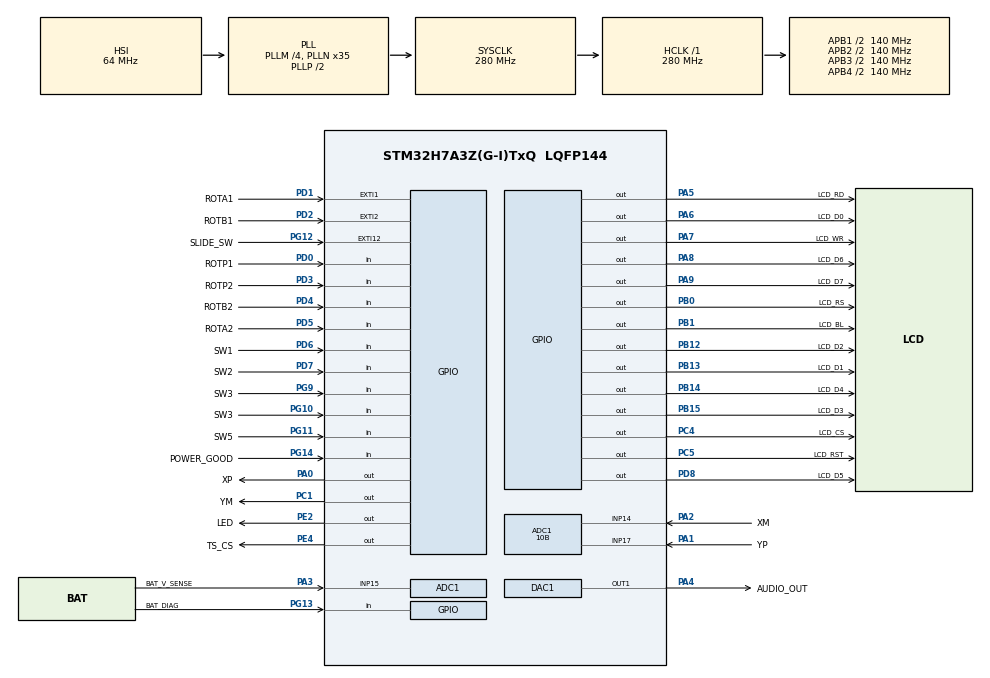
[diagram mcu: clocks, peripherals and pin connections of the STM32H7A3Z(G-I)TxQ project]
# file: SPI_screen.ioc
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ADC1.Channel-1\#ChannelRegularConversion=ADC_CHANNEL_14
ADC1.ContinuousConvMode=DISABLE
ADC1.ConversionDataManagement=ADC_CONVERSIONDATA_DR
ADC1.NbrOfConversion=1
ADC1.NbrOfConversionFlag=1
ADC1.OffsetNumber-1\#ChannelRegularConversion=ADC_OFFSET_NONE
ADC1.OffsetSignedSaturation-1\#ChannelRegularConversion=DISABLE
ADC1.Rank-1\#ChannelRegularConversion=1
ADC1.Resolution=ADC_RESOLUTION_10B
ADC1.SamplingTime-1\#ChannelRegularConversion=ADC_SAMPLETIME_1CYCLE_5
ADC1.master=1
ARM.CMSIS.5.9.0.CMSISJjCORE=true
CORTEX_M7.default_mode_Activation=1
DAC1.DAC_Channel-DAC_OUT1=DAC_CHANNEL_1
FREERTOS.Tasks01=touch_io,24,128,start_touch_io,Default,NULL,Static,touch_ioBuffer,touch_ioControlBlock;lcd_display,23,128,start_lcd_display,Default,NULL,Static,lcd_displayBuffer,lcd_displayControlBlock
FREERTOS.configCHECK_FOR_STACK_OVERFLOW=1
FREERTOS.configENABLE_FPU=1
FREERTOS.configGENERATE_RUN_TIME_STATS=1
FREERTOS.configUSE_STATS_FORMATTING_FUNCTIONS=1
Mcu.Family=STM32H7
Mcu.Name=STM32H7A3Z(G-I)TxQ
Mcu.Package=LQFP144
Mcu.UserConstants=TOUCH_IO_REFRESH_RATE,10
NVIC.EXTI15_10_IRQn=true\:5\:0\:false\:false\:true\:true\:true\:true\:true
NVIC.EXTI1_IRQn=true\:5\:0\:false\:false\:true\:true\:true\:true\:true
NVIC.EXTI2_IRQn=true\:5\:0\:false\:false\:true\:true\:true\:true\:true
NVIC.PriorityGroup=NVIC_PRIORITYGROUP_4
NVIC.TIM8_BRK_TIM12_IRQn=true\:15\:0\:false\:false\:true\:false\:false\:true\:true
NVIC.TIM8_UP_TIM13_IRQn=true\:5\:0\:false\:false\:true\:true\:true\:true\:true
NVIC.TimeBase=TIM8_BRK_TIM12_IRQn
NVIC.TimeBaseIP=TIM12
PA0.GPIO_Label=XP
PA0.GPIO_Speed=GPIO_SPEED_FREQ_VERY_HIGH
PA0.Signal=GPIO_Output
PA1.GPIO_Label=YP
PA1.GPIO_Pd=GPIO_PULLDOWN
PA1.Signal=SharedAnalog_PA1
PA13.Mode=Serial_Wire
PA13.Signal=DEBUG_JTMS-SWDIO
PA14.Mode=Serial_Wire
PA14.Signal=DEBUG_JTCK-SWCLK
PA2.GPIO_Label=XM
PA2.GPIO_Pd=GPIO_PULLDOWN
PA2.Signal=ADCx_INP14
PA3.GPIO_Label=BAT_V_SENSE
PA3.Mode=IN15-Single-Ended
PA3.Signal=ADC1_INP15
PA4.GPIO_Label=AUDIO_OUT
PA4.Signal=COMP_DAC11_group
PA5.GPIO_Label=LCD_RD
PA5.GPIO_Speed=GPIO_SPEED_FREQ_VERY_HIGH
PA5.PinState=GPIO_PIN_SET
PA5.Signal=GPIO_Output
PA6.GPIO_Label=LCD_D0
PA6.GPIO_Speed=GPIO_SPEED_FREQ_VERY_HIGH
PA6.Signal=GPIO_Output
PA7.GPIO_Label=LCD_WR
PA7.GPIO_Speed=GPIO_SPEED_FREQ_VERY_HIGH
PA7.PinState=GPIO_PIN_SET
PA7.Signal=GPIO_Output
PA8.GPIO_Label=LCD_D6
PA8.GPIO_Speed=GPIO_SPEED_FREQ_VERY_HIGH
PA8.Signal=GPIO_Output
PA9.GPIO_Label=LCD_D7
PA9.GPIO_Speed=GPIO_SPEED_FREQ_VERY_HIGH
PA9.Signal=GPIO_Output
PB0.GPIO_Label=LCD_RS
PB0.GPIO_Speed=GPIO_SPEED_FREQ_VERY_HIGH
PB0.Signal=GPIO_Output
PB1.GPIO_Label=LCD_BL
PB1.PinState=GPIO_PIN_SET
PB1.Signal=GPIO_Output
PB12.GPIO_Label=LCD_D2
PB12.GPIO_Speed=GPIO_SPEED_FREQ_VERY_HIGH
PB12.Signal=GPIO_Output
PB13.GPIO_Label=LCD_D1
PB13.GPIO_Speed=GPIO_SPEED_FREQ_VERY_HIGH
PB13.Signal=GPIO_Output
PB14.GPIO_Label=LCD_D4
PB14.GPIO_Speed=GPIO_SPEED_FREQ_VERY_HIGH
PB14.Signal=GPIO_Output
PB15.GPIO_Label=LCD_D3
PB15.GPIO_Speed=GPIO_SPEED_FREQ_VERY_HIGH
PB15.Signal=GPIO_Output
PC1.GPIO_Label=YM
PC1.GPIO_Speed=GPIO_SPEED_FREQ_VERY_HIGH
PC1.PinState=GPIO_PIN_RESET
PC1.Signal=GPIO_Output
PC14-OSC32_IN.GPIO_Label=OSC32_IN
PC14-OSC32_IN.Signal=RCC_OSC32_IN
PC15-OSC32_OUT.GPIO_Label=OSC32_OUT
PC15-OSC32_OUT.Signal=RCC_OSC32_OUT
PC4.GPIO_Label=LCD_CS
PC4.GPIO_ModeDefaultOutputPP=GPIO_MODE_OUTPUT_PP
PC4.GPIO_Speed=GPIO_SPEED_FREQ_VERY_HIGH
PC4.PinState=GPIO_PIN_SET
PC4.Signal=GPIO_Output
PC5.GPIO_Label=LCD_RST
PC5.PinState=GPIO_PIN_SET
PC5.Signal=GPIO_Output
PD0.GPIO_Label=ROTP1
PD0.Signal=GPIO_Input
PD1.GPIO_Label=ROTA1
PD1.GPIO_ModeDefaultEXTI=GPIO_MODE_IT_RISING_FALLING
PD1.GPIO_PuPd=GPIO_NOPULL
PD1.Signal=GPXTI1
PD2.GPIO_Label=ROTB1
PD2.GPIO_ModeDefaultEXTI=GPIO_MODE_IT_RISING_FALLING
PD2.GPIO_PuPd=GPIO_NOPULL
PD2.Signal=GPXTI2
PD3.GPIO_Label=ROTP2
PD3.Signal=GPIO_Input
PD4.GPIO_Label=ROTB2
PD4.Signal=GPIO_Input
PD5.GPIO_Label=ROTA2
PD5.Signal=GPIO_Input
PD6.GPIO_Label=SW1
PD6.Signal=GPIO_Input
PD7.GPIO_Label=SW2
PD7.Signal=GPIO_Input
PD8.GPIO_Label=LCD_D5
PD8.GPIO_Speed=GPIO_SPEED_FREQ_VERY_HIGH
PD8.Signal=GPIO_Output
PD9.Signal=USART3_RX
PE2.GPIO_Label=LED
PE2.Signal=GPIO_Output
PE4.GPIO_Label=TS_CS
PE4.GPIO_Speed=GPIO_SPEED_FREQ_VERY_HIGH
PE4.PinState=GPIO_PIN_SET
PE4.Signal=GPIO_Output
PG10.GPIO_Label=SW3
PG10.Signal=GPIO_Input
PG11.GPIO_Label=SW5
PG11.Signal=GPIO_Input
PG12.GPIO_Label=SLIDE_SW
PG12.GPIO_ModeDefaultEXTI=GPIO_MODE_IT_RISING
PG12.Signal=GPXTI12
PG13.GPIO_Label=BAT_DIAG
PG13.Signal=GPIO_Input
PG14.GPIO_Label=POWER_GOOD
PG14.Signal=GPIO_Input
PG9.GPIO_Label=SW3
PG9.Signal=GPIO_Input
PH0-OSC_IN.GPIO_Label=PH0-MCU
PH0-OSC_IN.Signal=RCC_OSC_IN
PH1-OSC_OUT.GPIO_Label=PH1-MCU
PH1-OSC_OUT.Signal=RCC_OSC_OUT
ProjectManager.HeapSize=0x200
ProjectManager.StackSize=0x400
ProjectManager.TargetToolchain=STM32CubeIDE
RCC.ADCFreq_Value=42666666.666666664
RCC.APB1Freq_Value=140000000
RCC.APB2Freq_Value=140000000
RCC.APB3Freq_Value=140000000
RCC.APB4Freq_Value=140000000
RCC.CDPPRE=RCC_APB3_DIV2
RCC.CDPPRE1=RCC_APB1_DIV2
RCC.CDPPRE2=RCC_APB2_DIV2
RCC.CortexFreq_Value=280000000
RCC.DIVM1=4
RCC.DIVM2=4
RCC.DIVM3=1
RCC.DIVN1=35
RCC.DIVN2=8
RCC.DIVN3=24
RCC.DIVP2=3
RCC.DIVQ1=4
RCC.HCLKFreq_Value=280000000
RCC.HSE_VALUE=8000000
RCC.PLL2FRACN=0
RCC.PLLFRACN=0
RCC.PWR_Regulator_Voltage_Scale=PWR_REGULATOR_VOLTAGE_SCALE0
RCC.SRDPPRE=RCC_APB4_DIV2
RCC.SYSCLKFreq_VALUE=280000000
RCC.SYSCLKSource=RCC_SYSCLKSOURCE_PLLCLK
RCC.SupplySource=PWR_DIRECT_SMPS_SUPPLY
RCC.USBCLockSelection=RCC_USBCLKSOURCE_HSI48
RCC.USBFreq_Value=48000000
SH.ADCx_INP14.0=ADC1_INP14,IN14-Single-Ended
SH.COMP_DAC11_group.0=DAC1_OUT1,DAC_OUT1
SH.SharedAnalog_PA1.0=ADC1_INN16
SH.SharedAnalog_PA1.1=ADC1_INP17,IN17-Single-Ended
TIM13.AutoReloadPreload=TIM_AUTORELOAD_PRELOAD_ENABLE
TIM13.Period=333 - 1
TIM13.Prescaler=28000 - 1
TIM6.AutoReloadPreload=TIM_AUTORELOAD_PRELOAD_ENABLE
TIM6.Period=725
TIM6.Prescaler=0
TIM6.TIM_MasterOutputTrigger=TIM_TRGO_UPDATE
VP_ARM.CMSIS_VS_CMSISJjCORE_5.6.0_5.9.0.Mode=CMSISJjCORE
VP_FREERTOS_VS_CMSIS_V2.Mode=CMSIS_V2
VP_MEMORYMAP_VS_MEMORYMAP.Mode=CurAppReg
VP_SYS_VS_tim12.Mode=TIM12
VP_TIM13_VS_ClockSourceINT.Mode=Enable_Timer
VP_TIM6_VS_ClockSourceINT.Mode=Enable_Timer
board=NUCLEO-H7A3ZI-Q

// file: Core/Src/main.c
/* USER CODE BEGIN Header */
/**
 ******************************************************************************
 * @file           : main.c
 * @brief          : Main program body
 ******************************************************************************
 * @attention
 *
 * Copyright (c) 2025 STMicroelectronics.
 * All rights reserved.
 *
 * This software is licensed under terms that can be found in the LICENSE file
 * in the root directory of this software component.
 * If no LICENSE file comes with this software, it is provided AS-IS.
 *
 ******************************************************************************
 */
/* USER CODE END Header */
#include "main.h"
#include "cmsis_os.h"

/* USER CODE BEGIN Includes */
#include <string.h>
#include "Lcd/ts.h"
#include "Lcd/ili9341.h"
#include "Lcd/stm32_adafruit_lcd.h"
#include "Encoder/encoder.h"

/* USER CODE END Includes */

typedef StaticTask_t osStaticThreadDef_t;

ADC_HandleTypeDef hadc1;

DAC_HandleTypeDef hdac1;

TIM_HandleTypeDef htim6;
TIM_HandleTypeDef htim13;

/* Definitions for touch_io */
osThreadId_t touch_ioHandle;
uint32_t touch_ioBuffer[ 128 ];
osStaticThreadDef_t touch_ioControlBlock;
const osThreadAttr_t touch_io_attributes = {
  .name = "touch_io",
  .cb_mem = &touch_ioControlBlock,
  .cb_size = sizeof(touch_ioControlBlock),
  .stack_mem = &touch_ioBuffer[0],
  .stack_size = sizeof(touch_ioBuffer),
  .priority = (osPriority_t) osPriorityNormal,
};
/* Definitions for lcd_display */
osThreadId_t lcd_displayHandle;
uint32_t lcd_displayBuffer[ 128 ];
osStaticThreadDef_t lcd_displayControlBlock;
const osThreadAttr_t lcd_display_attributes = {
  .name = "lcd_display",
  .cb_mem = &lcd_displayControlBlock,
  .cb_size = sizeof(lcd_displayControlBlock),
  .stack_mem = &lcd_displayBuffer[0],
  .stack_size = sizeof(lcd_displayBuffer),
  .priority = (osPriority_t) osPriorityBelowNormal7,
};
/* USER CODE BEGIN PV */
extern GRTS_Drv *ts_drv;
TS_Point p;
uint32_t x, y;

uint16_t write_buffer[ILI9341_LCD_PIXEL_WIDTH * ILI9341_LCD_PIXEL_HEIGHT];
uint16_t draw_buffer[ILI9341_LCD_PIXEL_WIDTH * ILI9341_LCD_PIXEL_HEIGHT];

uint16_t *write_to = write_buffer;
uint16_t *draw_from = draw_buffer;

extern Rotary_Encoder encoders[2];
/* USER CODE END PV */

void SystemClock_Config(void);
static void MPU_Config(void);
static void MX_GPIO_Init(void);
static void MX_TIM6_Init(void);
static void MX_DAC1_Init(void);
static void MX_ADC1_Init(void);
static void MX_TIM13_Init(void);
void start_touch_io(void *argument);
void start_lcd_display(void *argument);

/* USER CODE BEGIN 0 */
static inline uint32_t map(uint32_t x, uint32_t in_min, uint32_t in_max,
		uint32_t out_min, uint32_t out_max) {
	return (x - in_min) * (out_max - out_min) / (in_max - in_min) + out_min;
}
/* USER CODE END 0 */

int main(void)
{

  /* MPU Configuration--------------------------------------------------------*/
  MPU_Config();

  /* MCU Configuration--------------------------------------------------------*/

  /* Reset of all peripherals, Initializes the Flash interface and the Systick. */
  HAL_Init();

  /* Configure the system clock */
  SystemClock_Config();

  /* Initialize all configured peripherals */
  MX_GPIO_Init();
  MX_TIM6_Init();
  MX_DAC1_Init();
  MX_ADC1_Init();
  MX_TIM13_Init();
  /* USER CODE BEGIN 2 */
	HAL_Delay(300);
	BSP_LCD_Init();
	BSP_LCD_Clear(LCD_COLOR_BLACK);
  /* USER CODE END 2 */

  /* Init scheduler */
  osKernelInitialize();

  /* Create the thread(s) */
  /* creation of touch_io */
  touch_ioHandle = osThreadNew(start_touch_io, NULL, &touch_io_attributes);

  /* creation of lcd_display */
  lcd_displayHandle = osThreadNew(start_lcd_display, NULL, &lcd_display_attributes);

  /* USER CODE BEGIN RTOS_THREADS */
	/* add threads, ... */
//  osThreadSuspend(touch_ioHandle);
//  osThreadSuspend(lcd_displayHandle);
  /* USER CODE END RTOS_THREADS */

  /* Start scheduler */
  osKernelStart();

  /* We should never get here as control is now taken by the scheduler */

  /* Infinite loop */
	while (1) {

	}
}

void SystemClock_Config(void)
{
  RCC_OscInitTypeDef RCC_OscInitStruct = {0};
  RCC_ClkInitTypeDef RCC_ClkInitStruct = {0};

  /*AXI clock gating */
  RCC->CKGAENR = 0xE003FFFF;

  /** Supply configuration update enable
  */
  HAL_PWREx_ConfigSupply(PWR_DIRECT_SMPS_SUPPLY);

  /** Configure the main internal regulator output voltage
  */
  __HAL_PWR_VOLTAGESCALING_CONFIG(PWR_REGULATOR_VOLTAGE_SCALE0);

  while(!__HAL_PWR_GET_FLAG(PWR_FLAG_VOSRDY)) {}

  /** Initializes the RCC Oscillators according to the specified parameters
  * in the RCC_OscInitTypeDef structure.
  */
  RCC_OscInitStruct.OscillatorType = RCC_OSCILLATORTYPE_HSI|RCC_OSCILLATORTYPE_LSI;
  RCC_OscInitStruct.HSIState = RCC_HSI_DIV1;
  RCC_OscInitStruct.HSICalibrationValue = 64;
  RCC_OscInitStruct.LSIState = RCC_LSI_ON;
  RCC_OscInitStruct.PLL.PLLState = RCC_PLL_ON;
  RCC_OscInitStruct.PLL.PLLSource = RCC_PLLSOURCE_HSI;
  RCC_OscInitStruct.PLL.PLLM = 4;
  RCC_OscInitStruct.PLL.PLLN = 35;
  RCC_OscInitStruct.PLL.PLLP = 2;
  RCC_OscInitStruct.PLL.PLLQ = 4;
  RCC_OscInitStruct.PLL.PLLR = 2;
  RCC_OscInitStruct.PLL.PLLRGE = RCC_PLL1VCIRANGE_3;
  RCC_OscInitStruct.PLL.PLLVCOSEL = RCC_PLL1VCOWIDE;
  RCC_OscInitStruct.PLL.PLLFRACN = 0;
  if (HAL_RCC_OscConfig(&RCC_OscInitStruct) != HAL_OK)
  {
    Error_Handler();
  }

  /** Initializes the CPU, AHB and APB buses clocks
  */
  RCC_ClkInitStruct.ClockType = RCC_CLOCKTYPE_HCLK|RCC_CLOCKTYPE_SYSCLK
                              |RCC_CLOCKTYPE_PCLK1|RCC_CLOCKTYPE_PCLK2
                              |RCC_CLOCKTYPE_D3PCLK1|RCC_CLOCKTYPE_D1PCLK1;
  RCC_ClkInitStruct.SYSCLKSource = RCC_SYSCLKSOURCE_PLLCLK;
  RCC_ClkInitStruct.SYSCLKDivider = RCC_SYSCLK_DIV1;
  RCC_ClkInitStruct.AHBCLKDivider = RCC_HCLK_DIV1;
  RCC_ClkInitStruct.APB3CLKDivider = RCC_APB3_DIV2;
  RCC_ClkInitStruct.APB1CLKDivider = RCC_APB1_DIV2;
  RCC_ClkInitStruct.APB2CLKDivider = RCC_APB2_DIV2;
  RCC_ClkInitStruct.APB4CLKDivider = RCC_APB4_DIV2;

  if (HAL_RCC_ClockConfig(&RCC_ClkInitStruct, FLASH_LATENCY_6) != HAL_OK)
  {
    Error_Handler();
  }
}

static void MX_ADC1_Init(void)
{

  ADC_MultiModeTypeDef multimode = {0};
  ADC_ChannelConfTypeDef sConfig = {0};

  /** Common config
  */
  hadc1.Instance = ADC1;
  hadc1.Init.ClockPrescaler = ADC_CLOCK_ASYNC_DIV1;
  hadc1.Init.Resolution = ADC_RESOLUTION_10B;
  hadc1.Init.ScanConvMode = ADC_SCAN_DISABLE;
  hadc1.Init.EOCSelection = ADC_EOC_SINGLE_CONV;
  hadc1.Init.LowPowerAutoWait = DISABLE;
  hadc1.Init.ContinuousConvMode = DISABLE;
  hadc1.Init.NbrOfConversion = 1;
  hadc1.Init.DiscontinuousConvMode = DISABLE;
  hadc1.Init.ExternalTrigConv = ADC_SOFTWARE_START;
  hadc1.Init.ExternalTrigConvEdge = ADC_EXTERNALTRIGCONVEDGE_NONE;
  hadc1.Init.ConversionDataManagement = ADC_CONVERSIONDATA_DR;
  hadc1.Init.Overrun = ADC_OVR_DATA_PRESERVED;
  hadc1.Init.LeftBitShift = ADC_LEFTBITSHIFT_NONE;
  hadc1.Init.OversamplingMode = DISABLE;
  if (HAL_ADC_Init(&hadc1) != HAL_OK)
  {
    Error_Handler();
  }

  /** Configure the ADC multi-mode
  */
  multimode.Mode = ADC_MODE_INDEPENDENT;
  if (HAL_ADCEx_MultiModeConfigChannel(&hadc1, &multimode) != HAL_OK)
  {
    Error_Handler();
  }

  /** Configure Regular Channel
  */
  sConfig.Channel = ADC_CHANNEL_14;
  sConfig.Rank = ADC_REGULAR_RANK_1;
  sConfig.SamplingTime = ADC_SAMPLETIME_1CYCLE_5;
  sConfig.SingleDiff = ADC_SINGLE_ENDED;
  sConfig.OffsetNumber = ADC_OFFSET_NONE;
  sConfig.Offset = 0;
  sConfig.OffsetSignedSaturation = DISABLE;
  if (HAL_ADC_ConfigChannel(&hadc1, &sConfig) != HAL_OK)
  {
    Error_Handler();
  }
  /* USER CODE BEGIN ADC1_Init 2 */
	HAL_ADCEx_Calibration_Start(&hadc1, ADC_CALIB_OFFSET_LINEARITY,
	ADC_CALIB_OFFSET_LINEARITY);
  /* USER CODE END ADC1_Init 2 */

}

static void MX_DAC1_Init(void)
{

  DAC_ChannelConfTypeDef sConfig = {0};

  /** DAC Initialization
  */
  hdac1.Instance = DAC1;
  if (HAL_DAC_Init(&hdac1) != HAL_OK)
  {
    Error_Handler();
  }

  /** DAC channel OUT1 config
  */
  sConfig.DAC_SampleAndHold = DAC_SAMPLEANDHOLD_DISABLE;
  sConfig.DAC_Trigger = DAC_TRIGGER_NONE;
  sConfig.DAC_OutputBuffer = DAC_OUTPUTBUFFER_ENABLE;
  sConfig.DAC_ConnectOnChipPeripheral = DAC_CHIPCONNECT_DISABLE;
  sConfig.DAC_UserTrimming = DAC_TRIMMING_FACTORY;
  if (HAL_DAC_ConfigChannel(&hdac1, &sConfig, DAC_CHANNEL_1) != HAL_OK)
  {
    Error_Handler();
  }

}

static void MX_TIM6_Init(void)
{

  TIM_MasterConfigTypeDef sMasterConfig = {0};

  htim6.Instance = TIM6;
  htim6.Init.Prescaler = 0;
  htim6.Init.CounterMode = TIM_COUNTERMODE_UP;
  htim6.Init.Period = 725;
  htim6.Init.AutoReloadPreload = TIM_AUTORELOAD_PRELOAD_ENABLE;
  if (HAL_TIM_Base_Init(&htim6) != HAL_OK)
  {
    Error_Handler();
  }
  sMasterConfig.MasterOutputTrigger = TIM_TRGO_UPDATE;
  sMasterConfig.MasterSlaveMode = TIM_MASTERSLAVEMODE_DISABLE;
  if (HAL_TIMEx_MasterConfigSynchronization(&htim6, &sMasterConfig) != HAL_OK)
  {
    Error_Handler();
  }
  /* USER CODE BEGIN TIM6_Init 2 */
	HAL_TIM_Base_Start(&htim6);
  /* USER CODE END TIM6_Init 2 */

}

static void MX_TIM13_Init(void)
{

  htim13.Instance = TIM13;
  htim13.Init.Prescaler = 28000 - 1;
  htim13.Init.CounterMode = TIM_COUNTERMODE_UP;
  htim13.Init.Period = 333 - 1;
  htim13.Init.ClockDivision = TIM_CLOCKDIVISION_DIV1;
  htim13.Init.AutoReloadPreload = TIM_AUTORELOAD_PRELOAD_ENABLE;
  if (HAL_TIM_Base_Init(&htim13) != HAL_OK)
  {
    Error_Handler();
  }
  /* USER CODE BEGIN TIM13_Init 2 */
	HAL_TIM_Base_Start_IT(&htim13);
  /* USER CODE END TIM13_Init 2 */

}

static void MX_GPIO_Init(void)
{
  GPIO_InitTypeDef GPIO_InitStruct = {0};

  /* GPIO Ports Clock Enable */
  __HAL_RCC_GPIOE_CLK_ENABLE();
  __HAL_RCC_GPIOC_CLK_ENABLE();
  __HAL_RCC_GPIOH_CLK_ENABLE();
  __HAL_RCC_GPIOA_CLK_ENABLE();
  __HAL_RCC_GPIOB_CLK_ENABLE();
  __HAL_RCC_GPIOD_CLK_ENABLE();
  __HAL_RCC_GPIOG_CLK_ENABLE();

  /*Configure GPIO pin Output Level */
  HAL_GPIO_WritePin(LED_GPIO_Port, LED_Pin, GPIO_PIN_RESET);

  /*Configure GPIO pin Output Level */
  HAL_GPIO_WritePin(TS_CS_GPIO_Port, TS_CS_Pin, GPIO_PIN_SET);

  /*Configure GPIO pin Output Level */
  HAL_GPIO_WritePin(YM_GPIO_Port, YM_Pin, GPIO_PIN_RESET);

  /*Configure GPIO pin Output Level */
  HAL_GPIO_WritePin(GPIOA, XP_Pin|LCD_D0_Pin|LCD_D6_Pin|LCD_D7_Pin, GPIO_PIN_RESET);

  /*Configure GPIO pin Output Level */
  HAL_GPIO_WritePin(GPIOA, LCD_RD_Pin|LCD_WR_Pin, GPIO_PIN_SET);

  /*Configure GPIO pin Output Level */
  HAL_GPIO_WritePin(GPIOC, LCD_CS_Pin|LCD_RST_Pin, GPIO_PIN_SET);

  /*Configure GPIO pin Output Level */
  HAL_GPIO_WritePin(GPIOB, LCD_RS_Pin|LCD_D2_Pin|LCD_D1_Pin|LCD_D4_Pin
                          |LCD_D3_Pin, GPIO_PIN_RESET);

  /*Configure GPIO pin Output Level */
  HAL_GPIO_WritePin(LCD_BL_GPIO_Port, LCD_BL_Pin, GPIO_PIN_SET);

  /*Configure GPIO pin Output Level */
  HAL_GPIO_WritePin(LCD_D5_GPIO_Port, LCD_D5_Pin, GPIO_PIN_RESET);

  /*Configure GPIO pin : LED_Pin */
  GPIO_InitStruct.Pin = LED_Pin;
  GPIO_InitStruct.Mode = GPIO_MODE_OUTPUT_PP;
  GPIO_InitStruct.Pull = GPIO_NOPULL;
  GPIO_InitStruct.Speed = GPIO_SPEED_FREQ_LOW;
  HAL_GPIO_Init(LED_GPIO_Port, &GPIO_InitStruct);

  /*Configure GPIO pin : TS_CS_Pin */
  GPIO_InitStruct.Pin = TS_CS_Pin;
  GPIO_InitStruct.Mode = GPIO_MODE_OUTPUT_PP;
  GPIO_InitStruct.Pull = GPIO_NOPULL;
  GPIO_InitStruct.Speed = GPIO_SPEED_FREQ_VERY_HIGH;
  HAL_GPIO_Init(TS_CS_GPIO_Port, &GPIO_InitStruct);

  /*Configure GPIO pins : YM_Pin LCD_CS_Pin */
  GPIO_InitStruct.Pin = YM_Pin|LCD_CS_Pin;
  GPIO_InitStruct.Mode = GPIO_MODE_OUTPUT_PP;
  GPIO_InitStruct.Pull = GPIO_NOPULL;
  GPIO_InitStruct.Speed = GPIO_SPEED_FREQ_VERY_HIGH;
  HAL_GPIO_Init(GPIOC, &GPIO_InitStruct);

  /*Configure GPIO pins : XP_Pin LCD_RD_Pin LCD_D0_Pin LCD_WR_Pin
                           LCD_D6_Pin LCD_D7_Pin */
  GPIO_InitStruct.Pin = XP_Pin|LCD_RD_Pin|LCD_D0_Pin|LCD_WR_Pin
                          |LCD_D6_Pin|LCD_D7_Pin;
  GPIO_InitStruct.Mode = GPIO_MODE_OUTPUT_PP;
  GPIO_InitStruct.Pull = GPIO_NOPULL;
  GPIO_InitStruct.Speed = GPIO_SPEED_FREQ_VERY_HIGH;
  HAL_GPIO_Init(GPIOA, &GPIO_InitStruct);

  /*Configure GPIO pin : LCD_RST_Pin */
  GPIO_InitStruct.Pin = LCD_RST_Pin;
  GPIO_InitStruct.Mode = GPIO_MODE_OUTPUT_PP;
  GPIO_InitStruct.Pull = GPIO_NOPULL;
  GPIO_InitStruct.Speed = GPIO_SPEED_FREQ_LOW;
  HAL_GPIO_Init(LCD_RST_GPIO_Port, &GPIO_InitStruct);

  /*Configure GPIO pins : LCD_RS_Pin LCD_D2_Pin LCD_D1_Pin LCD_D4_Pin
                           LCD_D3_Pin */
  GPIO_InitStruct.Pin = LCD_RS_Pin|LCD_D2_Pin|LCD_D1_Pin|LCD_D4_Pin
                          |LCD_D3_Pin;
  GPIO_InitStruct.Mode = GPIO_MODE_OUTPUT_PP;
  GPIO_InitStruct.Pull = GPIO_NOPULL;
  GPIO_InitStruct.Speed = GPIO_SPEED_FREQ_VERY_HIGH;
  HAL_GPIO_Init(GPIOB, &GPIO_InitStruct);

  /*Configure GPIO pin : LCD_BL_Pin */
  GPIO_InitStruct.Pin = LCD_BL_Pin;
  GPIO_InitStruct.Mode = GPIO_MODE_OUTPUT_PP;
  GPIO_InitStruct.Pull = GPIO_NOPULL;
  GPIO_InitStruct.Speed = GPIO_SPEED_FREQ_LOW;
  HAL_GPIO_Init(LCD_BL_GPIO_Port, &GPIO_InitStruct);

  /*Configure GPIO pin : LCD_D5_Pin */
  GPIO_InitStruct.Pin = LCD_D5_Pin;
  GPIO_InitStruct.Mode = GPIO_MODE_OUTPUT_PP;
  GPIO_InitStruct.Pull = GPIO_NOPULL;
  GPIO_InitStruct.Speed = GPIO_SPEED_FREQ_VERY_HIGH;
  HAL_GPIO_Init(LCD_D5_GPIO_Port, &GPIO_InitStruct);

  /*Configure GPIO pin : PD9 */
  GPIO_InitStruct.Pin = GPIO_PIN_9;
  GPIO_InitStruct.Mode = GPIO_MODE_AF_PP;
  GPIO_InitStruct.Pull = GPIO_NOPULL;
  GPIO_InitStruct.Speed = GPIO_SPEED_FREQ_LOW;
  GPIO_InitStruct.Alternate = GPIO_AF7_USART3;
  HAL_GPIO_Init(GPIOD, &GPIO_InitStruct);

  /*Configure GPIO pins : ROTP1_Pin ROTP2_Pin ROTB2_Pin ROTA2_Pin
                           SW1_Pin SW2_Pin */
  GPIO_InitStruct.Pin = ROTP1_Pin|ROTP2_Pin|ROTB2_Pin|ROTA2_Pin
                          |SW1_Pin|SW2_Pin;
  GPIO_InitStruct.Mode = GPIO_MODE_INPUT;
  GPIO_InitStruct.Pull = GPIO_NOPULL;
  HAL_GPIO_Init(GPIOD, &GPIO_InitStruct);

  /*Configure GPIO pins : ROTA1_Pin ROTB1_Pin */
  GPIO_InitStruct.Pin = ROTA1_Pin|ROTB1_Pin;
  GPIO_InitStruct.Mode = GPIO_MODE_IT_RISING_FALLING;
  GPIO_InitStruct.Pull = GPIO_NOPULL;
  HAL_GPIO_Init(GPIOD, &GPIO_InitStruct);

  /*Configure GPIO pins : SW3_Pin SW3G10_Pin SW5_Pin BAT_DIAG_Pin
                           POWER_GOOD_Pin */
  GPIO_InitStruct.Pin = SW3_Pin|SW3G10_Pin|SW5_Pin|BAT_DIAG_Pin
                          |POWER_GOOD_Pin;
  GPIO_InitStruct.Mode = GPIO_MODE_INPUT;
  GPIO_InitStruct.Pull = GPIO_NOPULL;
  HAL_GPIO_Init(GPIOG, &GPIO_InitStruct);

  /*Configure GPIO pin : SLIDE_SW_Pin */
  GPIO_InitStruct.Pin = SLIDE_SW_Pin;
  GPIO_InitStruct.Mode = GPIO_MODE_IT_RISING;
  GPIO_InitStruct.Pull = GPIO_NOPULL;
  HAL_GPIO_Init(SLIDE_SW_GPIO_Port, &GPIO_InitStruct);

  /*AnalogSwitch Config */
  HAL_SYSCFG_AnalogSwitchConfig(SYSCFG_SWITCH_PA0, SYSCFG_SWITCH_PA0_CLOSE);

  /* EXTI interrupt init*/
  HAL_NVIC_SetPriority(ROTA1_EXTI_IRQn, 5, 0);
  HAL_NVIC_EnableIRQ(ROTA1_EXTI_IRQn);

  HAL_NVIC_SetPriority(ROTB1_EXTI_IRQn, 5, 0);
  HAL_NVIC_EnableIRQ(ROTB1_EXTI_IRQn);

  HAL_NVIC_SetPriority(SLIDE_SW_EXTI_IRQn, 5, 0);
  HAL_NVIC_EnableIRQ(SLIDE_SW_EXTI_IRQn);

}

/* USER CODE BEGIN 4 */
void HAL_GPIO_EXTI_Callback(uint16_t GPIO_Pin)
{
	// Todo: write mode switch logic
	if (GPIO_Pin == SLIDE_SW_Pin) {
		__NOP();
	}

	if ((GPIO_Pin == ROTA1_Pin) || (GPIO_Pin == ROTB1_Pin)) {
		encoders[0].irq_handler(&encoders[0]);
	}
}
/* USER CODE END 4 */

void start_touch_io(void *argument)
{
  /* USER CODE BEGIN 5 */
	/* Infinite loop */
	for (;;) {
		p = ts_drv->Get_Point();

		if (p.z < 5000) {
			if ((p.x < MIN_X) || (p.x > MAX_X)) {
				__NOP();
			}
			else if ((p.y < MIN_Y) || (p.y > MAX_Y)) {
				__NOP();
			} else {
				x = map(p.x, MIN_X, MAX_X, 0, ILI9341_LCD_PIXEL_HEIGHT);
				y = map(p.y, MIN_Y, MAX_Y, 0, ILI9341_LCD_PIXEL_WIDTH);

				// draw pixel to the buffer
				write_to[x + ILI9341_LCD_PIXEL_WIDTH * y] = 0x7E0;
			}
		}
		osDelay(TOUCH_IO_REFRESH_RATE);
	}
  /* USER CODE END 5 */
}

void start_lcd_display(void *argument)
{
  /* USER CODE BEGIN start_lcd_display */
	/* Infinite loop */
	for (;;) {
		BSP_LCD_DrawRGB16Image(0, 0, ILI9341_LCD_PIXEL_WIDTH,
				ILI9341_LCD_PIXEL_HEIGHT, draw_from);
	}
  /* USER CODE END start_lcd_display */
}

 /* MPU Configuration */

void MPU_Config(void)
{
  MPU_Region_InitTypeDef MPU_InitStruct = {0};

  /* Disables the MPU */
  HAL_MPU_Disable();

  /** Initializes and configures the Region and the memory to be protected
  */
  MPU_InitStruct.Enable = MPU_REGION_ENABLE;
  MPU_InitStruct.Number = MPU_REGION_NUMBER0;
  MPU_InitStruct.BaseAddress = 0x0;
  MPU_InitStruct.Size = MPU_REGION_SIZE_4GB;
  MPU_InitStruct.SubRegionDisable = 0x87;
  MPU_InitStruct.TypeExtField = MPU_TEX_LEVEL0;
  MPU_InitStruct.AccessPermission = MPU_REGION_NO_ACCESS;
  MPU_InitStruct.DisableExec = MPU_INSTRUCTION_ACCESS_DISABLE;
  MPU_InitStruct.IsShareable = MPU_ACCESS_SHAREABLE;
  MPU_InitStruct.IsCacheable = MPU_ACCESS_NOT_CACHEABLE;
  MPU_InitStruct.IsBufferable = MPU_ACCESS_NOT_BUFFERABLE;

  HAL_MPU_ConfigRegion(&MPU_InitStruct);
  /* Enables the MPU */
  HAL_MPU_Enable(MPU_PRIVILEGED_DEFAULT);

}

void HAL_TIM_PeriodElapsedCallback(TIM_HandleTypeDef *htim)
{
  if (htim->Instance == TIM12)
  {
    HAL_IncTick();
  }
}

void Error_Handler(void)
{
	__disable_irq();
	while (1) {
	}
}
